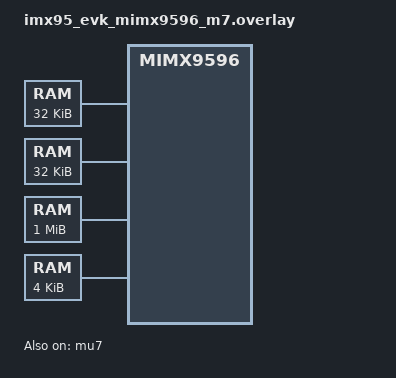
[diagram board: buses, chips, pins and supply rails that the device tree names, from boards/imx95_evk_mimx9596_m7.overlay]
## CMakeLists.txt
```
# SPDX-License-Identifier: Apache-2.0

cmake_minimum_required(VERSION 3.20.0)

find_package(Zephyr REQUIRED HINTS $ENV{ZEPHYR_BASE})
project(ipc_echo)

target_sources(app PRIVATE src/main.c)
```

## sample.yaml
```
sample:
  name: ipc service echo
  description: Echo on two IPC service endpoints over one rpmsg link
tests:
  sample.rproc_ipc.ipc_echo:
    platform_allow:
      - imx95_evk/mimx9596/m7
    integration_platforms:
      - imx95_evk/mimx9596/m7
    build_only: true
    tags:
      - ipc
      - remoteproc
```

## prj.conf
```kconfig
CONFIG_REMOTEPROC=y
CONFIG_OPENAMP=y
CONFIG_OPENAMP_MASTER=n
CONFIG_IPC_SERVICE=y

CONFIG_LOG=y
CONFIG_CONSOLE=y
CONFIG_UART_CONSOLE=y
CONFIG_PRINTK=y
CONFIG_HEAP_MEM_POOL_SIZE=4096
```

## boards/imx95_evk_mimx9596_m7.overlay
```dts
/*
 * SPDX-License-Identifier: Apache-2.0
 *
 * i.MX95 Cortex-M7 as a Linux remoteproc remote. Addresses, sizes and names
 * match the reserved-memory nodes in NXP's Linux devicetree for the i.MX95
 * EVK and FRDM-IMX95 (vdev0vring0, vdev0vring1, vdevbuffer, rsc-table): the
 * carveout names must equal the Linux node names, or Linux allocates a second
 * carveout of its own for each one instead of using the reserved region.
 */

/ {
	chosen {
		openamp,resource-table = &rsc_table;
	};

	ipc0: ipc {
		compatible = "zephyr,ipc-rproc-rpmsg";
		rpmsg-device = <&vdev0>;
	};

	vdev0vring0: memory@88000000 {
		compatible = "zephyr,memory-region";
		zephyr,memory-region = "vdev0vring0";
		reg = <0x88000000 0x8000>;
	};

	vdev0vring1: memory@88008000 {
		compatible = "zephyr,memory-region";
		zephyr,memory-region = "vdev0vring1";
		reg = <0x88008000 0x8000>;
	};

	vdevbuffer: memory@88020000 {
		compatible = "zephyr,memory-region";
		zephyr,memory-region = "vdevbuffer";
		reg = <0x88020000 0x100000>;
	};

	rsc_table_mem: memory@88220000 {
		compatible = "zephyr,memory-region";
		zephyr,memory-region = "rsc-table";
		reg = <0x88220000 0x1000>;
	};

	remoteproc {
		rsc_table: resource-table {
			compatible = "openamp,resource-table";
			carveouts = <&vdev0vring0 &vdev0vring1 &vdevbuffer>;
			vdevs = <&vdev0>;
			/* Linux reads and updates the table here, not where it is linked. */
			memory-region = <&rsc_table_mem>;
		};

		vrings {
			#address-cells = <1>;
			#size-cells = <0>;

			vdev0_tx: vring@0 {
				compatible = "openamp,vring";
				reg = <0>;
				#vring-cells = <0>;
				notify-id = <0>;
				device-address = <0x88000000>;
				memory-region = <&vdev0vring0>;
				num-buffers = <8>;
				mboxes = <&mu7 1>;
			};

			vdev0_rx: vring@1 {
				compatible = "openamp,vring";
				reg = <1>;
				#vring-cells = <0>;
				notify-id = <1>;
				device-address = <0x88008000>;
				memory-region = <&vdev0vring1>;
				num-buffers = <8>;
				mboxes = <&mu7 1>;
			};
		};

		vdevs {
			#address-cells = <1>;
			#size-cells = <0>;

			vdev0: vdev@0 {
				compatible = "openamp,rpmsg-virtio-device";
				reg = <0>;
				vrings = <&vdev0_tx &vdev0_rx>;
				vring-names = "tx", "rx";
				memory-region = <&vdevbuffer>;
			};
		};
	};
};

&mu7 {
	status = "okay";
};
```

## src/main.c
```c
/*
 * SPDX-License-Identifier: Apache-2.0
 *
 * Two "rpmsg-raw" endpoints through the IPC service API: the first echoes
 * each message back, the second echoes it reversed, so a host can tell which
 * /dev/rpmsgN it is talking to.
 */

#include <zephyr/device.h>
#include <zephyr/ipc/ipc_service.h>
#include <zephyr/kernel.h>
#include <zephyr/logging/log.h>

LOG_MODULE_REGISTER(ipc_echo, LOG_LEVEL_INF);

static const struct device *const ipc = DEVICE_DT_GET(DT_NODELABEL(ipc0));

struct echo {
	struct ipc_ept ept;
	const char *label;
	bool reverse;
	uint32_t count;
};

static struct echo echoes[] = {
	{.label = "plain"},
	{.label = "reverse", .reverse = true},
};

static void bound(void *priv)
{
	struct echo *e = priv;

	LOG_INF("%s endpoint bound", e->label);
}

static void received(const void *data, size_t len, void *priv)
{
	struct echo *e = priv;
	uint8_t out[496];
	const uint8_t *in = data;

	if (len > sizeof(out)) {
		LOG_ERR("%s: %zu bytes is more than a buffer", e->label, len);
		return;
	}

	for (size_t i = 0; i < len; i++) {
		out[i] = e->reverse ? in[len - 1 - i] : in[i];
	}

	int ret = ipc_service_send(&e->ept, out, len);

	if (ret < 0) {
		LOG_ERR("%s: echo of %zu bytes failed: %d", e->label, len, ret);
		return;
	}

	e->count++;
}

int main(void)
{
	int ret = ipc_service_open_instance(ipc);

	if (ret < 0 && ret != -EALREADY) {
		LOG_ERR("ipc_service_open_instance failed: %d", ret);
		return 0;
	}

	for (size_t i = 0; i < ARRAY_SIZE(echoes); i++) {
		struct ipc_ept_cfg cfg = {
			.name = "rpmsg-raw",
			.cb = {.bound = bound, .received = received},
			.priv = &echoes[i],
		};

		ret = ipc_service_register_endpoint(ipc, &echoes[i].ept, &cfg);
		if (ret < 0) {
			LOG_ERR("register %s failed: %d", echoes[i].label, ret);
			return 0;
		}
	}

	LOG_INF("two endpoints registered");

	while (true) {
		k_sleep(K_SECONDS(30));
		LOG_INF("echoed plain=%u reverse=%u", echoes[0].count, echoes[1].count);
	}

	return 0;
}
```
